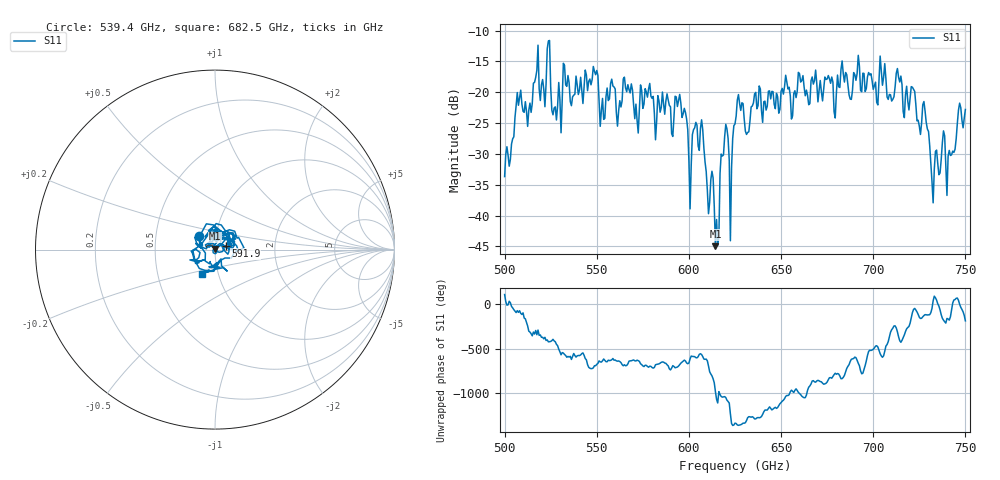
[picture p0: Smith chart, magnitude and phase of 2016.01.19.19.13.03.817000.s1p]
!Created with skrf (http://scikit-rf.org).
# GHz S RI R 50.0
!freq ReS11 ImS11
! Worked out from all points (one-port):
!   401 points, 500 GHz to 750 GHz, reference 50 ohm
!   lowest |S11| = -45.0 dB at 614.4 GHz (marker M1), VSWR 1.01, Z = 49.9 + j0.559 ohm
!   |S11| at or under -10 dB: start of sweep to end of sweep
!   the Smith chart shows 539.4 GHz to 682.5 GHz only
!   S11 on the Smith chart (normalised r, x): 539.4 GHz: 0.83, +0.13; 591.9 GHz: 1.12, +0.05; 682.5 GHz: 0.84, -0.23
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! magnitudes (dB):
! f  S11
! 500 GHz  -33.7
! 507.5 GHz  -22.1
! 513.8 GHz  -21.8
! 516.9 GHz  -17.6
! 520.6 GHz  -17.9
! 523.8 GHz  -11.7
! 526.9 GHz  -22.6
! 531.2 GHz  -21.3
! 539.4 GHz  -18.8
! 562.5 GHz  -21.4
! 565.6 GHz  -19.3
! 571.9 GHz  -24.6
! 591.9 GHz  -24.1
! 593.8 GHz  -22.3
! 600.6 GHz  -38.9
! 607.5 GHz  -26.1
! 614.4 GHz  -45.0
! 615.6 GHz  -44.9
! 618.8 GHz  -30.2
! 622.5 GHz  -44.1
! 625 GHz  -25.1
! 656.2 GHz  -23.8
! 682.5 GHz  -16.3
! 687.5 GHz  -21.1
! 718.8 GHz  -21.5
! 728.1 GHz  -23.1
! 732.5 GHz  -37.9
! 750 GHz  -22.8
